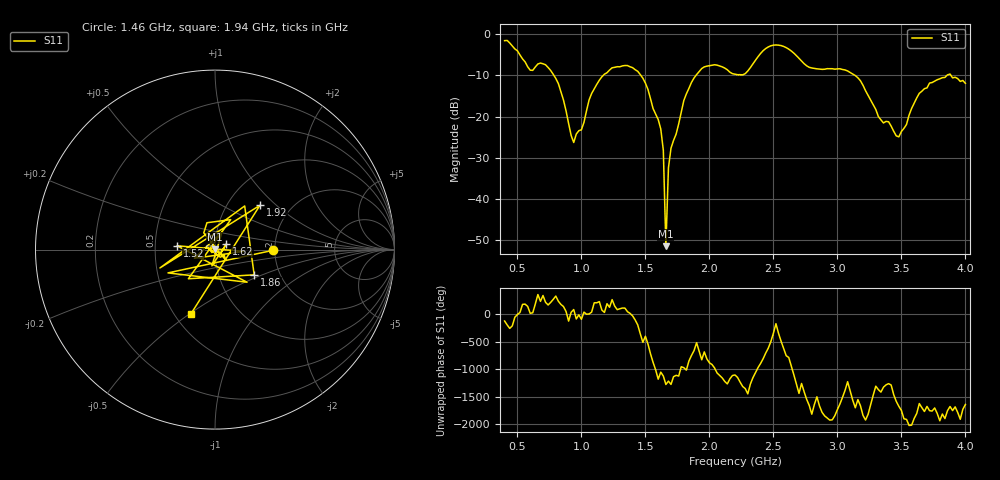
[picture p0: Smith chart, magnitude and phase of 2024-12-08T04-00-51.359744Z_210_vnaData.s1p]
!Created with skrf (http://scikit-rf.org).
# Hz S RI R 50.0
!freq ReS11 ImS11
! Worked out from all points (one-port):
!   181 points, 400 MHz to 4 GHz, reference 50 ohm
!   lowest |S11| = -51.5 dB at 1.66 GHz (marker M1), VSWR 1.01, Z = 49.7 + j0.0758 ohm
!   |S11| at or under -10 dB: 785 MHz to 1.171 GHz (385.9 MHz wide, 39.5 % of centre); 1.464 GHz to 1.895 GHz (431 MHz wide, 25.7 % of centre); 3.137 GHz to 3.856 GHz (718.9 MHz wide, 20.6 % of centre) (the widest 3 of 4)
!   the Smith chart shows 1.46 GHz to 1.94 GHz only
!   S11 on the Smith chart (normalised r, x): 1.46 GHz: 1.95, -0.02; 1.52 GHz: 0.65, +0.03; 1.62 GHz: 1.13, +0.07; 1.86 GHz: 1.48, -0.45; 1.92 GHz: 1.41, +0.79; 1.94 GHz: 0.60, -0.51
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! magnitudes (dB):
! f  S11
! 400 MHz  -1.6
! 600 MHz  -8.7
! 720 MHz  -7.4
! 860 MHz  -16.0
! 940 MHz  -26.3
! 1.12 GHz  -12.2
! 1.3 GHz  -7.9
! 1.46 GHz  -9.8
! 1.52 GHz  -13.4
! 1.62 GHz  -23.0
! 1.64 GHz  -28.2
! 1.66 GHz  -51.5
! 1.68 GHz  -32.4
! 1.7 GHz  -27.7
! 1.76 GHz  -21.8
! 1.86 GHz  -11.7
! 1.92 GHz  -9.1
! 1.94 GHz  -8.3
! 2.2 GHz  -9.7
! 2.48 GHz  -2.8
! 2.66 GHz  -4.6
! 2.78 GHz  -8.0
! 3.1 GHz  -9.3
! 3.46 GHz  -24.7
! 3.56 GHz  -19.7
! 3.72 GHz  -11.9
! 3.88 GHz  -9.7
! 4 GHz  -11.9
